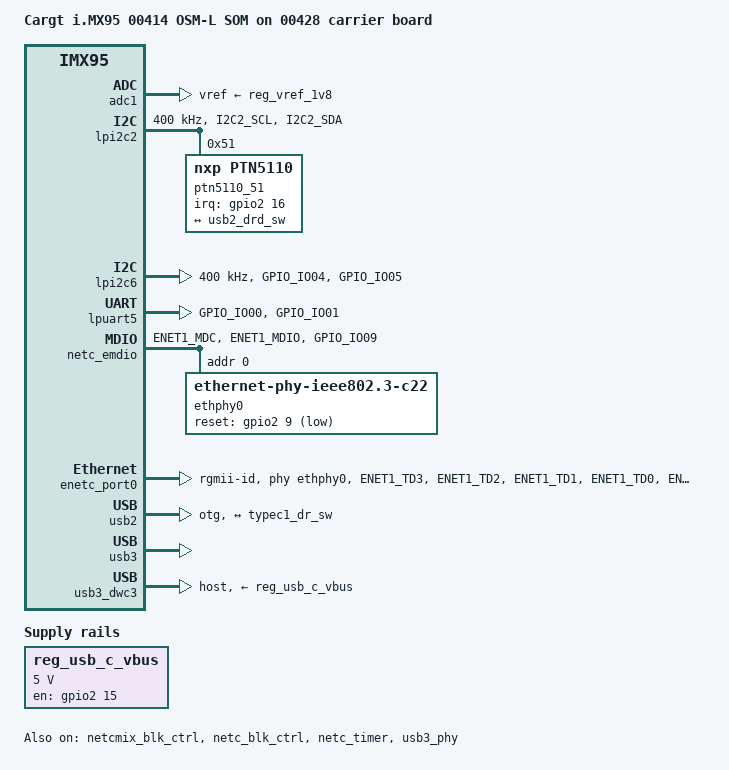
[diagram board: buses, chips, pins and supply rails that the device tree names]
// SPDX-License-Identifier: (GPL-2.0+ OR MIT)
/*
 * Copyright 2024 NXP
 * Copyright 2026 Cargt
 *
 * Cargt i.MX 95 00414 OSM-L SOM on the 00428 carrier (rev 01).
 *
 * Ported from imx93-cargt-00363-00428.dts by OSM-L signal name, using the
 * same 00363 -> 00414 pad translation as imx95-cargt-00414-00365.dts:
 *
 *   OSM signal   00428 use        00363 (i.MX 93)   00414 (i.MX 95)
 *   ETH_A        RTL8211FI        ENET1 (EQOS)      ENET1 (NETC ENETC0)
 *   SPI_A_SDO    ETH_A_RST        SAI1_RXD0         GPIO_IO09 (gpio2 9)
 *   I2C_A        PTN5110 @0x51    LPI2C2            LPI2C2
 *   I2C_B        touch            LPI2C3            LPI2C6
 *   UART_A_RX    USB2_VBUS_EN     GPIO_IO09         GPIO_IO15 (gpio2 15)
 *   UART_A_CTS   USB1_nALERT      GPIO_IO10         GPIO_IO16 (gpio2 16)
 *   UART_B       MikroBus UART    LPUART2           LPUART5
 *   USB_A        USB-C (PTN5110)  USB1 (usbotg1)    USB2 (usb2, high-speed only)
 *   USB_C        host, VBUS_EN    USB2 (usbotg2)    USB1 (usb3)
 */

/dts-v1/;

#include <dt-bindings/usb/pd.h>
#include "imx95-cargt-00414-osm-som.dts"

/ {
	model = "Cargt i.MX95 00414 OSM-L SOM on 00428 carrier board";
	compatible = "cargt,imx95-00414-00428", "cargt,imx95-00414-osm-som",
		     "fsl,imx95";

	aliases {
		ethernet0 = &enetc_port0;
		serial4 = &lpuart5;
	};

	/* OSM USB_C VBUS (USB2_VBUS_EN on OSM UART_A_RX) */
	reg_usb_c_vbus: regulator-usb-c-vbus {
		compatible = "regulator-fixed";
		pinctrl-names = "default";
		pinctrl-0 = <&pinctrl_usb_c_vbus>;
		regulator-name = "USB2_VBUS_EN";
		regulator-min-microvolt = <5000000>;
		regulator-max-microvolt = <5000000>;
		gpio = <&gpio2 15 GPIO_ACTIVE_HIGH>;
		enable-active-high;
	};
};

&adc1 {
	vref-supply = <&reg_vref_1v8>;
	status = "okay";
};

/* OSM I2C_A */
&lpi2c2 {
	#address-cells = <1>;
	#size-cells = <0>;
	clock-frequency = <400000>;
	pinctrl-names = "default", "sleep";
	pinctrl-0 = <&pinctrl_lpi2c2>;
	pinctrl-1 = <&pinctrl_lpi2c2>;
	status = "okay";

	ptn5110_51: tcpc@51 {
		compatible = "nxp,ptn5110", "tcpci";
		reg = <0x51>;
		pinctrl-names = "default";
		pinctrl-0 = <&pinctrl_ptn5110_51>;
		interrupt-parent = <&gpio2>;
		interrupts = <16 IRQ_TYPE_LEVEL_LOW>;	/* USB1_nALERT on OSM UART_A_CTS */
		status = "okay";

		connector {
			compatible = "usb-c-connector";
			label = "USB-C";
			power-role = "dual";
			data-role = "dual";
			try-power-role = "sink";
			source-pdos = <PDO_FIXED(5000, 3000, PDO_FIXED_USB_COMM)>;
			sink-pdos = <PDO_FIXED(5000, 3000, PDO_FIXED_USB_COMM)
					PDO_VAR(5000, 20000, 3000)>;
			op-sink-microwatt = <15000000>;
			self-powered;

			port {
				typec1_dr_sw: endpoint {
					remote-endpoint = <&usb2_drd_sw>;
				};
			};
		};
	};
};

/* OSM I2C_B (touch controllers on the display variants) */
&lpi2c6 {
	#address-cells = <1>;
	#size-cells = <0>;
	clock-frequency = <400000>;
	pinctrl-names = "default", "sleep";
	pinctrl-0 = <&pinctrl_lpi2c6>;
	pinctrl-1 = <&pinctrl_lpi2c6>;
	status = "okay";
};

/* OSM UART_B (MikroBus UART) */
&lpuart5 {
	pinctrl-names = "default";
	pinctrl-0 = <&pinctrl_uart5>;
	status = "okay";
};

&netcmix_blk_ctrl {
	status = "okay";
};

&netc_blk_ctrl {
	status = "okay";
};

&netc_timer {
	status = "okay";
};

/* ETH_A PHY MDIO (ENET1_MDC/MDIO) */
&netc_emdio {
	pinctrl-names = "default";
	pinctrl-0 = <&pinctrl_emdio>, <&pinctrl_eth_rst>;
	status = "okay";

	ethphy0: ethernet-phy@0 {
		compatible = "ethernet-phy-ieee802.3-c22";
		reg = <0>;
		/* ETH_A_RST -> non-inverting FET level shifter -> PHYRST (active low) */
		reset-gpios = <&gpio2 9 GPIO_ACTIVE_LOW>;
		reset-assert-us = <15000>;
		reset-deassert-us = <100000>;
		realtek,clkout-disable;
		eee-broken-1000t;
	};
};

/* OSM ETH_A */
&enetc_port0 {
	pinctrl-names = "default";
	pinctrl-0 = <&pinctrl_enetc0>;
	phy-handle = <&ethphy0>;
	phy-mode = "rgmii-id";
	status = "okay";
};

/* OSM USB_A: USB-C with PTN5110, high-speed only controller */
&usb2 {
	dr_mode = "otg";
	hnp-disable;
	srp-disable;
	adp-disable;
	usb-role-switch;
	disable-over-current;
	status = "okay";

	port {
		usb2_drd_sw: endpoint {
			remote-endpoint = <&typec1_dr_sw>;
		};
	};
};

/* OSM USB_C: host only (no SuperSpeed lanes on the 00428) */
&usb3 {
	status = "okay";
};

&usb3_dwc3 {
	dr_mode = "host";
	vbus-supply = <&reg_usb_c_vbus>;
	status = "okay";
};

&usb3_phy {
	status = "okay";
};

&scmi_iomuxc {
	pinctrl_emdio: emdiogrp {
		fsl,pins = <
			IMX95_PAD_ENET1_MDC__NETCMIX_TOP_NETC_MDC		0x50e
			IMX95_PAD_ENET1_MDIO__NETCMIX_TOP_NETC_MDIO		0x90e
		>;
	};

	pinctrl_eth_rst: ethrstgrp {
		fsl,pins = <
			IMX95_PAD_GPIO_IO09__GPIO2_IO_BIT9			0x31e /* ETH_A_RST */
		>;
	};

	pinctrl_enetc0: enetc0grp {
		fsl,pins = <
			IMX95_PAD_ENET1_TD3__NETCMIX_TOP_ETH0_RGMII_TD3		0x50e
			IMX95_PAD_ENET1_TD2__NETCMIX_TOP_ETH0_RGMII_TD2		0x50e
			IMX95_PAD_ENET1_TD1__NETCMIX_TOP_ETH0_RGMII_TD1		0x50e
			IMX95_PAD_ENET1_TD0__NETCMIX_TOP_ETH0_RGMII_TD0		0x50e
			IMX95_PAD_ENET1_TX_CTL__NETCMIX_TOP_ETH0_RGMII_TX_CTL	0x57e
			IMX95_PAD_ENET1_TXC__NETCMIX_TOP_ETH0_RGMII_TX_CLK	0x58e
			IMX95_PAD_ENET1_RX_CTL__NETCMIX_TOP_ETH0_RGMII_RX_CTL	0x57e
			IMX95_PAD_ENET1_RXC__NETCMIX_TOP_ETH0_RGMII_RX_CLK	0x58e
			IMX95_PAD_ENET1_RD0__NETCMIX_TOP_ETH0_RGMII_RD0		0x57e
			IMX95_PAD_ENET1_RD1__NETCMIX_TOP_ETH0_RGMII_RD1		0x57e
			IMX95_PAD_ENET1_RD2__NETCMIX_TOP_ETH0_RGMII_RD2		0x57e
			IMX95_PAD_ENET1_RD3__NETCMIX_TOP_ETH0_RGMII_RD3		0x57e
		>;
	};

	pinctrl_lpi2c2: lpi2c2grp {
		fsl,pins = <
			IMX95_PAD_I2C2_SCL__AONMIX_TOP_LPI2C2_SCL		0x40000b9e
			IMX95_PAD_I2C2_SDA__AONMIX_TOP_LPI2C2_SDA		0x40000b9e
		>;
	};

	pinctrl_lpi2c6: lpi2c6grp {
		fsl,pins = <
			IMX95_PAD_GPIO_IO04__LPI2C6_SDA				0x40000b9e
			IMX95_PAD_GPIO_IO05__LPI2C6_SCL				0x40000b9e
		>;
	};

	pinctrl_ptn5110_51: ptn5110-51grp {
		fsl,pins = <
			IMX95_PAD_GPIO_IO16__GPIO2_IO_BIT16			0x31e
		>;
	};

	pinctrl_usb_c_vbus: usbcvbusgrp {
		fsl,pins = <
			IMX95_PAD_GPIO_IO15__GPIO2_IO_BIT15			0x31e /* USB2_VBUS_EN */
		>;
	};

	pinctrl_uart5: uart5grp {
		fsl,pins = <
			IMX95_PAD_GPIO_IO00__LPUART5_TX				0x31e
			IMX95_PAD_GPIO_IO01__LPUART5_RX				0x31e
		>;
	};
};
